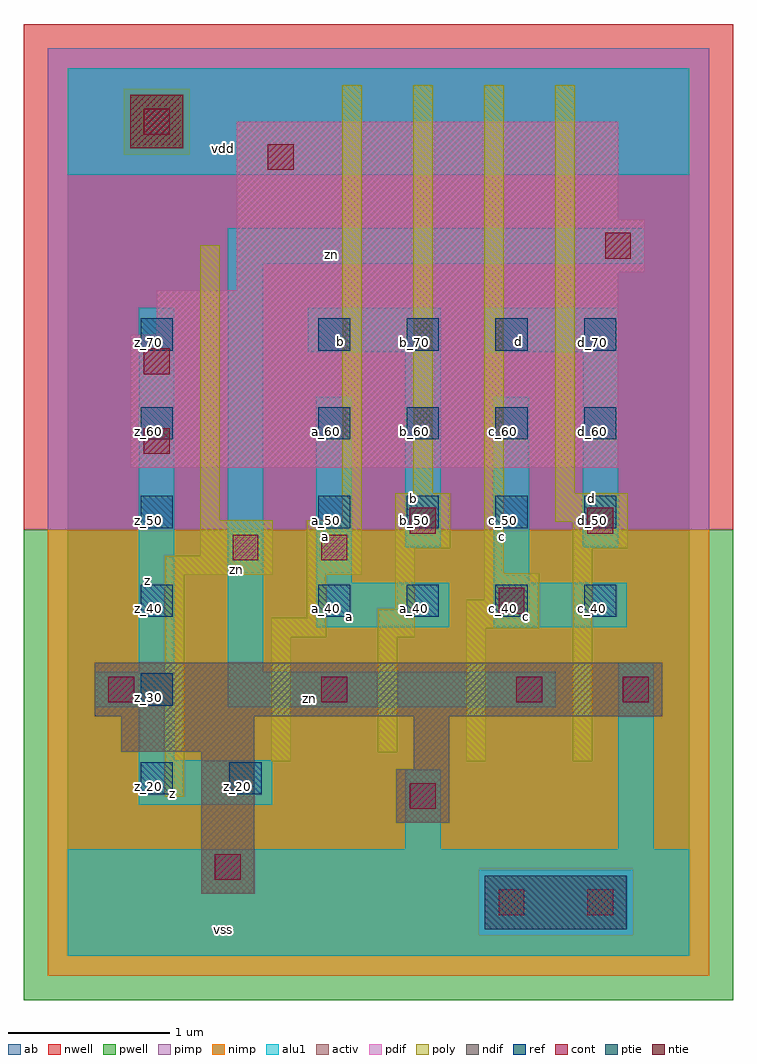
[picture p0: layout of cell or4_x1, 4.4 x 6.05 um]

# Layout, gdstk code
import gdstk
lib = gdstk.Library(unit=1e-6, precision=2.5e-09)
def R(c, l, rs):  # rectangles x0, y0, x1, y1
    for r in rs: c.add(gdstk.rectangle(r[:2], r[2:], *l))
def A(c, l, x, y, w, h, nx, ny, dx, dy):  # array of equal rectangles
    R(c, l, [(x+i*dx, y+j*dy, x+i*dx+w, y+j*dy+h) for i in range(nx) for j in range(ny)])
ndif = (3, 0)
pdif = (4, 0)
ntie = (5, 0)
ptie = (6, 0)
ref = (24, 0)
cont = (25, 0)
pwell = (41, 0)
nwell = (42, 0)
activ = (43, 0)
pimp = (44, 0)
nimp = (45, 0)
poly = (46, 0)
alu1 = (49, 0)
ab = (63, 0)

or4_x1 = lib.new_cell('or4_x1')
R(or4_x1, ndif, [(0.825,0.385,1.155,1.265), (2.035,0.825,2.365,1.155), (2.145,1.155,2.365,1.485), (0.33,1.265,1.155,1.485), (0.165,1.485,3.685,1.815)])
R(or4_x1, pdif, [(0.385,3.025,3.41,3.85), (0.55,3.85,3.41,4.125), (1.045,4.125,3.41,4.235), (1.045,4.235,3.575,4.565), (1.045,4.565,3.41,5.17)])
R(or4_x1, ntie, [(0.385,5.005,0.715,5.335)])
R(or4_x1, ptie, [(2.585,0.165,3.465,0.495)])
A(or4_x1, ref, 0.45, 1, 0.2, 0.2, 1, 6, 0, 0.55)
A(or4_x1, ref, 1.55, 2.1, 0.2, 0.2, 4, 4, 0.55, 0.55)
R(or4_x1, ref, [(1,1,1.2,1.2)])
R(or4_x1, cont, [(2.67,0.25,2.83,0.41), (3.22,0.25,3.38,0.41), (0.91,0.47,1.07,0.63), (2.12,0.91,2.28,1.07), (0.25,1.57,0.41,1.73), (1.57,1.57,1.73,1.73), (2.78,1.57,2.94,1.73), (3.44,1.57,3.6,1.73), (2.67,2.12,2.83,2.28), (1.02,2.45,1.18,2.61), (1.57,2.45,1.73,2.61), (2.12,2.615,2.28,2.775), (3.22,2.615,3.38,2.775), (0.47,3.11,0.63,3.27), (0.47,3.605,0.63,3.765), (3.33,4.32,3.49,4.48), (1.24,4.87,1.4,5.03), (0.47,5.09,0.63,5.25)])
R(or4_x1, pwell, [(-0.275,-0.275,4.125,2.64)])
R(or4_x1, nwell, [(-0.275,2.64,4.125,5.775)])
R(or4_x1, activ, [(2.585,0.165,3.465,0.495), (0.825,0.385,1.155,1.265), (2.035,0.825,2.365,1.155), (2.145,1.155,2.365,1.485), (0.33,1.265,1.155,1.485), (0.165,1.485,3.685,1.815), (0.385,3.025,3.41,3.85), (0.55,3.85,3.41,4.125), (1.045,4.125,3.41,4.235), (1.045,4.235,3.575,4.565), (1.045,4.565,3.41,5.17), (0.385,5.005,0.715,5.335)])
R(or4_x1, pimp, [(2.545,0.125,3.505,0.535), (-0.125,2.64,3.975,4.965), (-0.125,4.965,0.345,5.375), (0.755,4.965,3.975,5.375), (-0.125,5.375,3.975,5.625)])
R(or4_x1, nimp, [(-0.125,-0.125,3.975,0.125), (-0.125,0.125,2.545,0.535), (3.505,0.125,3.975,0.535), (-0.125,0.535,3.975,2.64), (0.345,4.965,0.755,5.375)])
R(or4_x1, poly, [(0.6,0.985,0.72,2.36), (1.26,1.205,1.38,1.975), (2.47,1.205,2.59,2.03), (3.13,1.205,3.25,2.525), (1.92,1.26,2.04,1.975), (1.26,1.975,1.6,2.095), (1.92,1.975,2.15,2.15), (2.47,2.03,2.92,2.205), (1.48,2.095,1.6,2.36), (2.03,2.15,2.15,2.525), (2.58,2.205,2.92,2.37), (0.6,2.36,1.27,2.48), (1.48,2.36,1.82,2.7), (2.58,2.37,2.7,5.395), (0.82,2.48,1.27,2.7), (2.03,2.525,2.37,2.865), (3.13,2.525,3.47,2.69), (3.02,2.69,3.47,2.865), (0.82,2.7,0.94,4.405), (1.7,2.7,1.82,5.395), (2.14,2.865,2.26,5.395), (3.02,2.865,3.14,5.395)])
R(or4_x1, alu1, [(0,0,3.85,0.66), (2.09,0.66,2.31,1.155), (3.41,0.66,3.63,1.815), (0.44,0.935,1.265,1.21), (0.44,1.21,0.66,1.54), (0.165,1.54,0.66,1.76), (0.99,1.54,3.025,1.76), (0.44,1.76,0.66,4.015), (0.99,1.76,1.21,4.29), (1.54,2.035,2.365,2.31), (2.64,2.035,3.465,2.31), (1.54,2.31,1.76,3.465), (2.64,2.31,2.86,3.465), (2.09,2.53,2.31,3.74), (3.19,2.53,3.41,3.74), (1.485,3.74,2.31,4.015), (2.585,3.74,3.41,4.015), (0.99,4.29,3.575,4.51), (0,4.84,3.85,5.5)])
R(or4_x1, ab, [(0,0,3.85,5.5)])
or4_x1.add(gdstk.Label('vss', (0.9625,0.165), layer=49, texttype=0))
or4_x1.add(gdstk.Label('z', (0.645,1.0025), layer=49, texttype=0))
or4_x1.add(gdstk.Label('zn', (1.4975,1.595), layer=49, texttype=0))
or4_x1.add(gdstk.Label('c', (2.845,2.1025), layer=49, texttype=0))
or4_x1.add(gdstk.Label('a', (1.745,2.1025), layer=49, texttype=0))
or4_x1.add(gdstk.Label('d', (3.245,2.8325), layer=49, texttype=0))
or4_x1.add(gdstk.Label('c', (2.695,2.5975), layer=49, texttype=0))
or4_x1.add(gdstk.Label('b', (2.145,2.8325), layer=49, texttype=0))
or4_x1.add(gdstk.Label('a', (1.595,2.5975), layer=49, texttype=0))
or4_x1.add(gdstk.Label('d', (2.79,3.8075), layer=49, texttype=0))
or4_x1.add(gdstk.Label('b', (1.69,3.8075), layer=49, texttype=0))
or4_x1.add(gdstk.Label('zn', (1.045,2.3925), layer=49, texttype=0))
or4_x1.add(gdstk.Label('z', (0.495,2.3225), layer=49, texttype=0))
or4_x1.add(gdstk.Label('zn', (1.635,4.345), layer=49, texttype=0))
or4_x1.add(gdstk.Label('vdd', (0.9625,5.005), layer=49, texttype=0))
or4_x1.add(gdstk.Label('c_60', (2.7,3.25), layer=24, texttype=0))
or4_x1.add(gdstk.Label('d_50', (3.25,2.7), layer=24, texttype=0))
or4_x1.add(gdstk.Label('b_70', (2.15,3.8), layer=24, texttype=0))
or4_x1.add(gdstk.Label('b_60', (2.15,3.25), layer=24, texttype=0))
or4_x1.add(gdstk.Label('b_50', (2.15,2.7), layer=24, texttype=0))
or4_x1.add(gdstk.Label('a_60', (1.6,3.25), layer=24, texttype=0))
or4_x1.add(gdstk.Label('a_50', (1.6,2.7), layer=24, texttype=0))
or4_x1.add(gdstk.Label('a_40', (1.6,2.15), layer=24, texttype=0))
or4_x1.add(gdstk.Label('a_40', (2.15,2.15), layer=24, texttype=0))
or4_x1.add(gdstk.Label('z_60', (0.5,3.25), layer=24, texttype=0))
or4_x1.add(gdstk.Label('z_50', (0.5,2.7), layer=24, texttype=0))
or4_x1.add(gdstk.Label('z_40', (0.5,2.15), layer=24, texttype=0))
or4_x1.add(gdstk.Label('z_30', (0.5,1.6), layer=24, texttype=0))
or4_x1.add(gdstk.Label('z_20', (0.5,1.05), layer=24, texttype=0))
or4_x1.add(gdstk.Label('z_20', (1.05,1.05), layer=24, texttype=0))
or4_x1.add(gdstk.Label('z_70', (0.5,3.8), layer=24, texttype=0))
or4_x1.add(gdstk.Label('c_40', (2.7,2.15), layer=24, texttype=0))
or4_x1.add(gdstk.Label('c_50', (2.7,2.7), layer=24, texttype=0))
or4_x1.add(gdstk.Label('b_70', (1.6,3.8), layer=24, texttype=0))
or4_x1.add(gdstk.Label('c_40', (3.25,2.15), layer=24, texttype=0))
or4_x1.add(gdstk.Label('d_60', (3.25,3.25), layer=24, texttype=0))
or4_x1.add(gdstk.Label('d_70', (3.25,3.8), layer=24, texttype=0))
or4_x1.add(gdstk.Label('d_70', (2.7,3.8), layer=24, texttype=0))

lib.write_gds('or4_x1.gds')
